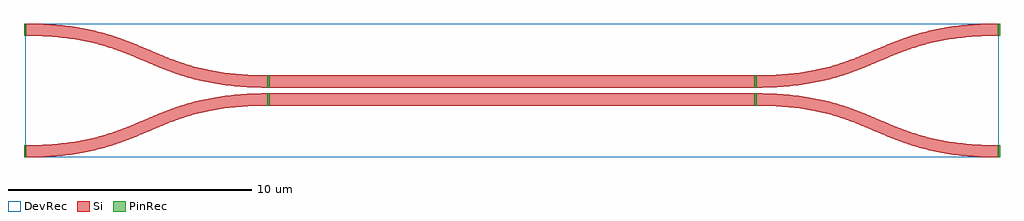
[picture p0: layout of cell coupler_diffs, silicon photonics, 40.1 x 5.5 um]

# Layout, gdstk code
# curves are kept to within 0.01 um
import gdstk
lib = gdstk.Library(unit=1e-6, precision=1e-09)
def R(c, l, rs):  # rectangles x0, y0, x1, y1
    for r in rs: c.add(gdstk.rectangle(r[:2], r[2:], *l))
def P(c, l, *ps):  # polygons
    for p in ps: c.add(gdstk.Polygon(p, *l))
Si = (1, 0)
PinRec = (1, 10)
DevRec = (68, 0)

coupler_old = lib.new_cell('coupler_old')
R(coupler_old, Si, [(0,-0.25,20,0.25), (0,0.486,20,0.986)])
P(coupler_old, Si, [(0,0.25),(-0.739,0.234),(-1.409,0.187),(-2.017,0.113),(-2.677,-0.007),(-3.365,-0.183),(-3.985,-0.386),(-6.105,-1.246),(-6.688,-1.443),(-7.14,-1.569),(-7.734,-1.697),(-8.399,-1.796),(-9.149,-1.859),(-10,-1.882),(-10,-2.382),(-9.261,-2.366),(-8.591,-2.319),(-7.983,-2.245),(-7.323,-2.125),(-6.635,-1.949),(-6.015,-1.746),(-3.895,-0.886),(-3.312,-0.689),(-2.86,-0.563),(-2.266,-0.435),(-1.601,-0.336),(-0.851,-0.273),(0,-0.25)],
  [(0,0.486),(-0.739,0.502),(-1.409,0.549),(-2.017,0.623),(-2.677,0.743),(-3.365,0.919),(-3.985,1.122),(-6.105,1.982),(-6.688,2.179),(-7.14,2.305),(-7.734,2.433),(-8.399,2.532),(-9.149,2.595),(-10,2.618),(-10,3.118),(-9.261,3.102),(-8.591,3.055),(-7.983,2.981),(-7.323,2.861),(-6.635,2.685),(-6.015,2.482),(-3.895,1.622),(-3.312,1.425),(-2.86,1.299),(-2.266,1.171),(-1.601,1.072),(-0.851,1.009),(0,0.986)],
  [(20,0.486),(20.739,0.502),(21.409,0.549),(22.017,0.623),(22.677,0.743),(23.365,0.919),(23.985,1.122),(26.105,1.982),(26.688,2.179),(27.14,2.305),(27.734,2.433),(28.399,2.532),(29.149,2.595),(30,2.618),(30,3.118),(29.261,3.102),(28.591,3.055),(27.983,2.981),(27.323,2.861),(26.635,2.685),(26.015,2.482),(23.895,1.622),(23.312,1.425),(22.86,1.299),(22.266,1.171),(21.601,1.072),(20.851,1.009),(20,0.986)],
  [(20,0.25),(20.739,0.234),(21.409,0.187),(22.017,0.113),(22.677,-0.007),(23.365,-0.183),(23.985,-0.386),(26.105,-1.246),(26.688,-1.443),(27.14,-1.569),(27.734,-1.697),(28.399,-1.796),(29.149,-1.859),(30,-1.882),(30,-2.382),(29.261,-2.366),(28.591,-2.319),(27.983,-2.245),(27.323,-2.125),(26.635,-1.949),(26.015,-1.746),(23.895,-0.886),(23.312,-0.689),(22.86,-0.563),(22.266,-0.435),(21.601,-0.336),(20.851,-0.273),(20,-0.25)])
coupler_old.add(gdstk.FlexPath([(-0.05,0),(0.05,0)], 0.5, ends="flush", simple_path=True, layer=1, datatype=10))  # PinRec
coupler_old.add(gdstk.FlexPath([(-9.95,-2.132),(-10.05,-2.132)], 0.5, ends="flush", simple_path=True, layer=1, datatype=10))  # PinRec
coupler_old.add(gdstk.FlexPath([(-0.05,0.736),(0.05,0.736)], 0.5, ends="flush", simple_path=True, layer=1, datatype=10))  # PinRec
coupler_old.add(gdstk.FlexPath([(-9.95,2.868),(-10.05,2.868)], 0.5, ends="flush", simple_path=True, layer=1, datatype=10))  # PinRec
coupler_old.add(gdstk.FlexPath([(20.05,0.736),(19.95,0.736)], 0.5, ends="flush", simple_path=True, layer=1, datatype=10))  # PinRec
coupler_old.add(gdstk.FlexPath([(29.95,2.868),(30.05,2.868)], 0.5, ends="flush", simple_path=True, layer=1, datatype=10))  # PinRec
coupler_old.add(gdstk.FlexPath([(20.05,0),(19.95,0)], 0.5, ends="flush", simple_path=True, layer=1, datatype=10))  # PinRec
coupler_old.add(gdstk.FlexPath([(29.95,-2.132),(30.05,-2.132)], 0.5, ends="flush", simple_path=True, layer=1, datatype=10))  # PinRec
coupler_old.add(gdstk.FlexPath([(0.05,0.736),(-0.05,0.736)], 0.5, ends="flush", simple_path=True, layer=1, datatype=10))  # PinRec
coupler_old.add(gdstk.FlexPath([(19.95,0.736),(20.05,0.736)], 0.5, ends="flush", simple_path=True, layer=1, datatype=10))  # PinRec
coupler_old.add(gdstk.FlexPath([(0.05,0),(-0.05,0)], 0.5, ends="flush", simple_path=True, layer=1, datatype=10))  # PinRec
coupler_old.add(gdstk.FlexPath([(19.95,0),(20.05,0)], 0.5, ends="flush", simple_path=True, layer=1, datatype=10))  # PinRec
coupler_old.add(gdstk.FlexPath([(-9.95,-2.132),(-10.05,-2.132)], 0.5, ends="flush", simple_path=True, layer=1, datatype=10))  # PinRec
coupler_old.add(gdstk.FlexPath([(-9.95,2.868),(-10.05,2.868)], 0.5, ends="flush", simple_path=True, layer=1, datatype=10))  # PinRec
coupler_old.add(gdstk.FlexPath([(29.95,2.868),(30.05,2.868)], 0.5, ends="flush", simple_path=True, layer=1, datatype=10))  # PinRec
coupler_old.add(gdstk.FlexPath([(29.95,-2.132),(30.05,-2.132)], 0.5, ends="flush", simple_path=True, layer=1, datatype=10))  # PinRec
coupler_old.add(gdstk.Label('o1', (0,0), layer=1, texttype=10))
coupler_old.add(gdstk.Label('o2', (-10,-2.132), layer=1, texttype=10))
coupler_old.add(gdstk.Label('o1', (0,0.736), layer=1, texttype=10))
coupler_old.add(gdstk.Label('o2', (-10,2.868), layer=1, texttype=10))
coupler_old.add(gdstk.Label('o1', (20,0.736), layer=1, texttype=10))
coupler_old.add(gdstk.Label('o2', (30,2.868), layer=1, texttype=10))
coupler_old.add(gdstk.Label('o1', (20,0), layer=1, texttype=10))
coupler_old.add(gdstk.Label('o2', (30,-2.132), layer=1, texttype=10))
coupler_old.add(gdstk.Label('o1', (0,0.736), layer=1, texttype=10))
coupler_old.add(gdstk.Label('o2', (20,0.736), layer=1, texttype=10))
coupler_old.add(gdstk.Label('o1', (0,0), layer=1, texttype=10))
coupler_old.add(gdstk.Label('o2', (20,0), layer=1, texttype=10))
coupler_old.add(gdstk.Label('o1', (-10,-2.132), layer=1, texttype=10))
coupler_old.add(gdstk.Label('o2', (-10,2.868), layer=1, texttype=10))
coupler_old.add(gdstk.Label('o3', (30,2.868), layer=1, texttype=10))
coupler_old.add(gdstk.Label('o4', (30,-2.132), layer=1, texttype=10))

coupler_new = lib.new_cell('coupler_new')
R(coupler_new, Si, [(0,-0.25,20,0.25), (0,0.486,20,0.986)])
P(coupler_new, Si, [(0,0.25),(-0.739,0.234),(-1.409,0.187),(-2.017,0.113),(-2.677,-0.007),(-3.365,-0.183),(-3.985,-0.386),(-6.105,-1.246),(-6.688,-1.443),(-7.14,-1.569),(-7.734,-1.697),(-8.399,-1.796),(-9.149,-1.859),(-10,-1.882),(-10,-2.382),(-9.261,-2.366),(-8.591,-2.319),(-7.983,-2.245),(-7.323,-2.125),(-6.635,-1.949),(-6.015,-1.746),(-3.895,-0.886),(-3.312,-0.689),(-2.86,-0.563),(-2.266,-0.435),(-1.601,-0.336),(-0.851,-0.273),(0,-0.25)],
  [(0,0.486),(-0.739,0.502),(-1.409,0.549),(-2.017,0.623),(-2.677,0.743),(-3.365,0.919),(-3.985,1.122),(-6.105,1.982),(-6.688,2.179),(-7.14,2.305),(-7.734,2.433),(-8.399,2.532),(-9.149,2.595),(-10,2.618),(-10,3.118),(-9.261,3.102),(-8.591,3.055),(-7.983,2.981),(-7.323,2.861),(-6.635,2.685),(-6.015,2.482),(-3.895,1.622),(-3.312,1.425),(-2.86,1.299),(-2.266,1.171),(-1.601,1.072),(-0.851,1.009),(0,0.986)],
  [(20,0.486),(20.739,0.502),(21.409,0.549),(22.017,0.623),(22.677,0.743),(23.365,0.919),(23.985,1.122),(26.105,1.982),(26.688,2.179),(27.14,2.305),(27.734,2.433),(28.399,2.532),(29.149,2.595),(30,2.618),(30,3.118),(29.261,3.102),(28.591,3.055),(27.983,2.981),(27.323,2.861),(26.635,2.685),(26.015,2.482),(23.895,1.622),(23.312,1.425),(22.86,1.299),(22.266,1.171),(21.601,1.072),(20.851,1.009),(20,0.986)],
  [(20,0.25),(20.739,0.234),(21.409,0.187),(22.017,0.113),(22.677,-0.007),(23.365,-0.183),(23.985,-0.386),(26.105,-1.246),(26.688,-1.443),(27.14,-1.569),(27.734,-1.697),(28.399,-1.796),(29.149,-1.859),(30,-1.882),(30,-2.382),(29.261,-2.366),(28.591,-2.319),(27.983,-2.245),(27.323,-2.125),(26.635,-1.949),(26.015,-1.746),(23.895,-0.886),(23.312,-0.689),(22.86,-0.563),(22.266,-0.435),(21.601,-0.336),(20.851,-0.273),(20,-0.25)])
R(coupler_new, DevRec, [(-10,-2.382,30,3.118)])
coupler_new.add(gdstk.FlexPath([(-9.95,-2.132),(-10.05,-2.132)], 0.5, ends="flush", simple_path=True, layer=1, datatype=10))  # PinRec
coupler_new.add(gdstk.FlexPath([(-9.95,2.868),(-10.05,2.868)], 0.5, ends="flush", simple_path=True, layer=1, datatype=10))  # PinRec
coupler_new.add(gdstk.FlexPath([(29.95,2.868),(30.05,2.868)], 0.5, ends="flush", simple_path=True, layer=1, datatype=10))  # PinRec
coupler_new.add(gdstk.FlexPath([(29.95,-2.132),(30.05,-2.132)], 0.5, ends="flush", simple_path=True, layer=1, datatype=10))  # PinRec
coupler_new.add(gdstk.Label('o1', (-10,-2.132), layer=1, texttype=10))
coupler_new.add(gdstk.Label('o2', (-10,2.868), layer=1, texttype=10))
coupler_new.add(gdstk.Label('o3', (30,2.868), layer=1, texttype=10))
coupler_new.add(gdstk.Label('o4', (30,-2.132), layer=1, texttype=10))

coupler_diffs = lib.new_cell('coupler_diffs')
coupler_diffs.add(gdstk.Reference(coupler_old, (0,0)))
coupler_diffs.add(gdstk.Reference(coupler_new, (0,0)))

lib.write_gds('coupler_diffs.gds')
